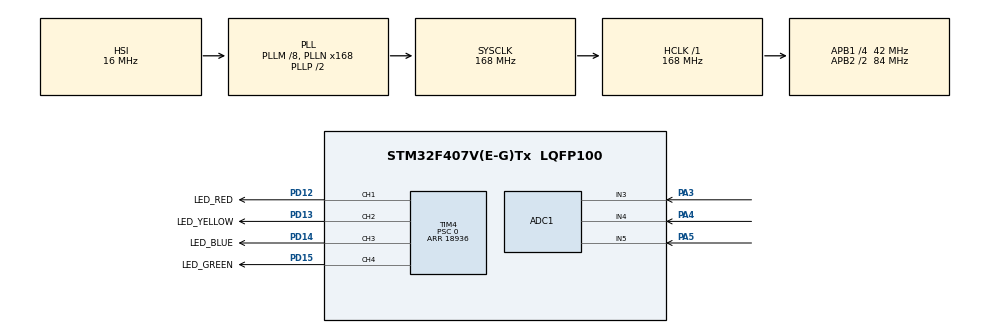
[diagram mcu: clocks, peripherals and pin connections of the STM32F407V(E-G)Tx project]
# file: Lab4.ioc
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ADC1.Channel-0\#ChannelRegularConversion=ADC_CHANNEL_3
ADC1.Channel-1\#ChannelRegularConversion=ADC_CHANNEL_4
ADC1.Channel-2\#ChannelRegularConversion=ADC_CHANNEL_5
ADC1.ClockPrescaler=ADC_CLOCK_SYNC_PCLK_DIV8
ADC1.ContinuousConvMode=ENABLE
ADC1.DMAContinuousRequests=ENABLE
ADC1.EOCSelection=ADC_EOC_SEQ_CONV
ADC1.NbrOfConversion=3
ADC1.NbrOfConversionFlag=1
ADC1.Rank-0\#ChannelRegularConversion=1
ADC1.Rank-1\#ChannelRegularConversion=2
ADC1.Rank-2\#ChannelRegularConversion=3
ADC1.SamplingTime-0\#ChannelRegularConversion=ADC_SAMPLETIME_84CYCLES
ADC1.SamplingTime-1\#ChannelRegularConversion=ADC_SAMPLETIME_84CYCLES
ADC1.SamplingTime-2\#ChannelRegularConversion=ADC_SAMPLETIME_84CYCLES
ADC1.ScanConvMode=ENABLE
ADC1.master=1
Dma.ADC1.0.Direction=DMA_PERIPH_TO_MEMORY
Dma.ADC1.0.FIFOMode=DMA_FIFOMODE_DISABLE
Dma.ADC1.0.Instance=DMA2_Stream0
Dma.ADC1.0.MemDataAlignment=DMA_MDATAALIGN_HALFWORD
Dma.ADC1.0.MemInc=DMA_MINC_ENABLE
Dma.ADC1.0.Mode=DMA_CIRCULAR
Dma.ADC1.0.PeriphDataAlignment=DMA_PDATAALIGN_HALFWORD
Dma.ADC1.0.PeriphInc=DMA_PINC_DISABLE
Dma.ADC1.0.Priority=DMA_PRIORITY_LOW
Dma.Request0=ADC1
Mcu.Family=STM32F4
Mcu.Name=STM32F407V(E-G)Tx
Mcu.Package=LQFP100
NVIC.ADC_IRQn=true\:0\:0\:false\:false\:true\:true\:true\:true
NVIC.DMA2_Stream0_IRQn=true\:0\:0\:false\:false\:true\:false\:true\:true
NVIC.PriorityGroup=NVIC_PRIORITYGROUP_4
NVIC.TIM4_IRQn=true\:0\:0\:false\:false\:true\:true\:true\:true
PA13.Mode=Serial_Wire
PA13.Signal=SYS_JTMS-SWDIO
PA14.Mode=Serial_Wire
PA14.Signal=SYS_JTCK-SWCLK
PA3.Signal=ADCx_IN3
PA4.Signal=ADCx_IN4
PA5.Signal=ADCx_IN5
PD12.GPIO_Label=LED_RED
PD12.Signal=S_TIM4_CH1
PD13.GPIO_Label=LED_YELLOW
PD13.Signal=S_TIM4_CH2
PD14.GPIO_Label=LED_BLUE
PD14.Signal=S_TIM4_CH3
PD15.GPIO_Label=LED_GREEN
PD15.Signal=S_TIM4_CH4
ProjectManager.HeapSize=0x400
ProjectManager.StackSize=0x400
ProjectManager.TargetToolchain=Makefile
RCC.48MHZClocksFreq_Value=48000000
RCC.AHBFreq_Value=168000000
RCC.APB1CLKDivider=RCC_HCLK_DIV4
RCC.APB1Freq_Value=42000000
RCC.APB1TimFreq_Value=84000000
RCC.APB2CLKDivider=RCC_HCLK_DIV2
RCC.APB2Freq_Value=84000000
RCC.APB2TimFreq_Value=168000000
RCC.CortexFreq_Value=168000000
RCC.HCLKFreq_Value=168000000
RCC.HSE_VALUE=8000000
RCC.HSI_VALUE=16000000
RCC.LSE_VALUE=32768
RCC.PLLM=8
RCC.PLLN=168
RCC.PLLQ=7
RCC.SYSCLKFreq_VALUE=168000000
RCC.SYSCLKSource=RCC_SYSCLKSOURCE_PLLCLK
RCC.VCOOutputFreq_Value=336000000
SH.ADCx_IN3.0=ADC1_IN3,IN3
SH.ADCx_IN4.0=ADC1_IN4,IN4
SH.ADCx_IN5.0=ADC1_IN5,IN5
SH.S_TIM4_CH1.0=TIM4_CH1,PWM Generation1 CH1
SH.S_TIM4_CH2.0=TIM4_CH2,PWM Generation2 CH2
SH.S_TIM4_CH3.0=TIM4_CH3,PWM Generation3 CH3
SH.S_TIM4_CH4.0=TIM4_CH4,PWM Generation4 CH4
TIM4.AutoReloadPreload=TIM_AUTORELOAD_PRELOAD_ENABLE
TIM4.Channel-PWM\ Generation1\ CH1=TIM_CHANNEL_1
TIM4.Channel-PWM\ Generation2\ CH2=TIM_CHANNEL_2
TIM4.Channel-PWM\ Generation3\ CH3=TIM_CHANNEL_3
TIM4.Channel-PWM\ Generation4\ CH4=TIM_CHANNEL_4
TIM4.CounterMode=TIM_COUNTERMODE_DOWN
TIM4.Period=18936
TIM4.Prescaler=0
TIM4.Pulse-PWM\ Generation1\ CH1=10794
TIM4.Pulse-PWM\ Generation2\ CH2=4545
TIM4.Pulse-PWM\ Generation3\ CH3=9468
TIM4.Pulse-PWM\ Generation4\ CH4=16853
VP_TIM4_VS_ClockSourceINT.Mode=Internal
board=custom

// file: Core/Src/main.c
/* USER CODE BEGIN Header */
/**
  ******************************************************************************
  * @file           : main.c
  * @brief          : Main program body
  ******************************************************************************
  * @attention
  *
  * Copyright (c) 2025 STMicroelectronics.
  * All rights reserved.
  *
  * This software is licensed under terms that can be found in the LICENSE file
  * in the root directory of this software component.
  * If no LICENSE file comes with this software, it is provided AS-IS.
  *
  ******************************************************************************
  */
/* USER CODE END Header */
#include "main.h"
#include "adc.h"
#include "dma.h"
#include "tim.h"
#include "gpio.h"

void SystemClock_Config(void);

int main(void)
{

  /* MCU Configuration--------------------------------------------------------*/

  /* Reset of all peripherals, Initializes the Flash interface and the Systick. */
  HAL_Init();

  /* Configure the system clock */
  SystemClock_Config();

  /* Initialize all configured peripherals */
  MX_GPIO_Init();
  MX_DMA_Init();
  MX_TIM4_Init();
  MX_ADC1_Init();
  /* USER CODE BEGIN 2 */

  /* Start PWM channels for three LEDs (TIM4 CH1->RED, CH2->YELLOW, CH3->BLUE) */
  HAL_TIM_PWM_Start(&htim4, TIM_CHANNEL_1);
  HAL_TIM_PWM_Start(&htim4, TIM_CHANNEL_2);
  HAL_TIM_PWM_Start(&htim4, TIM_CHANNEL_3);

  /* Start ADC in DMA mode; fill adc_dma_buf[3] in circular mode */
  HAL_ADC_Start_DMA(&hadc1, (uint32_t*)adc_dma_buf, 3);

  /* USER CODE END 2 */

  /* Infinite loop */
  /* USER CODE BEGIN WHILE */

  const uint32_t FILTER_N = 6;
  uint32_t filtered[3] = {0,0,0};

  while (1)
  {
    /* USER CODE END WHILE */

    /* USER CODE BEGIN 3 */

    uint32_t s0 = adc_dma_buf[0];
    uint32_t s1 = adc_dma_buf[1];
    uint32_t s2 = adc_dma_buf[2];

    /* Apply simple integer IIR to smooth readings */
    filtered[0] = (filtered[0] * (FILTER_N - 1) + s0) / FILTER_N;
    filtered[1] = (filtered[1] * (FILTER_N - 1) + s1) / FILTER_N;
    filtered[2] = (filtered[2] * (FILTER_N - 1) + s2) / FILTER_N;

    uint32_t period = htim4.Init.Period;
    uint32_t pwm0 = (filtered[0] * period) / 4095;
    uint32_t pwm1 = (filtered[1] * period) / 4095;
    uint32_t pwm2 = (filtered[2] * period) / 4095;

    /* Small deadzone to avoid visible flicker at very low values */
    const uint32_t DEAD_THRESHOLD = 2; /* ADC units */
    if (filtered[0] < DEAD_THRESHOLD) pwm0 = 0;
    if (filtered[1] < DEAD_THRESHOLD) pwm1 = 0;
    if (filtered[2] < DEAD_THRESHOLD) pwm2 = 0;

    __HAL_TIM_SET_COMPARE(&htim4, TIM_CHANNEL_1, pwm0);
    __HAL_TIM_SET_COMPARE(&htim4, TIM_CHANNEL_2, pwm1);
    __HAL_TIM_SET_COMPARE(&htim4, TIM_CHANNEL_3, pwm2);

    HAL_Delay(10);
  }
  /* USER CODE END 3 */
}

void SystemClock_Config(void)
{
  RCC_OscInitTypeDef RCC_OscInitStruct = {0};
  RCC_ClkInitTypeDef RCC_ClkInitStruct = {0};

  /** Configure the main internal regulator output voltage
  */
  __HAL_RCC_PWR_CLK_ENABLE();
  __HAL_PWR_VOLTAGESCALING_CONFIG(PWR_REGULATOR_VOLTAGE_SCALE1);

  /** Initializes the RCC Oscillators according to the specified parameters
  * in the RCC_OscInitTypeDef structure.
  */
  RCC_OscInitStruct.OscillatorType = RCC_OSCILLATORTYPE_HSI;
  RCC_OscInitStruct.HSIState = RCC_HSI_ON;
  RCC_OscInitStruct.HSICalibrationValue = RCC_HSICALIBRATION_DEFAULT;
  RCC_OscInitStruct.PLL.PLLState = RCC_PLL_ON;
  RCC_OscInitStruct.PLL.PLLSource = RCC_PLLSOURCE_HSI;
  RCC_OscInitStruct.PLL.PLLM = 8;
  RCC_OscInitStruct.PLL.PLLN = 168;
  RCC_OscInitStruct.PLL.PLLP = RCC_PLLP_DIV2;
  RCC_OscInitStruct.PLL.PLLQ = 7;
  if (HAL_RCC_OscConfig(&RCC_OscInitStruct) != HAL_OK)
  {
    Error_Handler();
  }

  /** Initializes the CPU, AHB and APB buses clocks
  */
  RCC_ClkInitStruct.ClockType = RCC_CLOCKTYPE_HCLK|RCC_CLOCKTYPE_SYSCLK
                              |RCC_CLOCKTYPE_PCLK1|RCC_CLOCKTYPE_PCLK2;
  RCC_ClkInitStruct.SYSCLKSource = RCC_SYSCLKSOURCE_PLLCLK;
  RCC_ClkInitStruct.AHBCLKDivider = RCC_SYSCLK_DIV1;
  RCC_ClkInitStruct.APB1CLKDivider = RCC_HCLK_DIV4;
  RCC_ClkInitStruct.APB2CLKDivider = RCC_HCLK_DIV2;

  if (HAL_RCC_ClockConfig(&RCC_ClkInitStruct, FLASH_LATENCY_5) != HAL_OK)
  {
    Error_Handler();
  }
}

void Error_Handler(void)
{
  __disable_irq();
  while (1)
  {
  }
}
